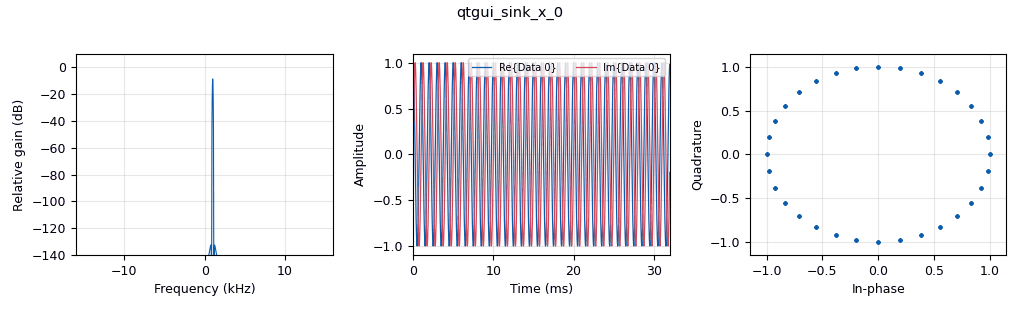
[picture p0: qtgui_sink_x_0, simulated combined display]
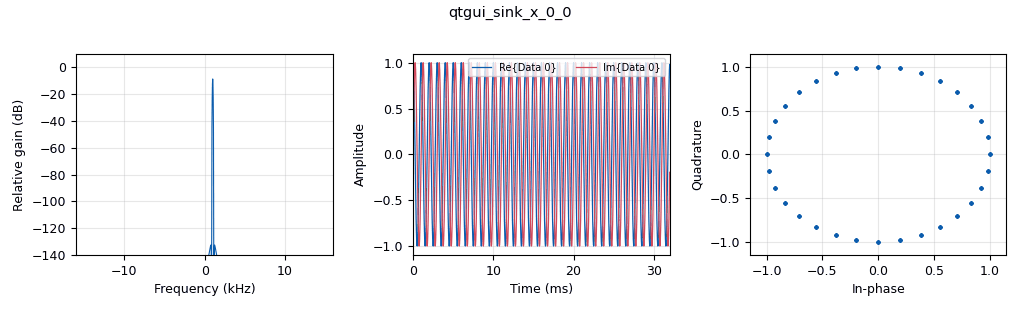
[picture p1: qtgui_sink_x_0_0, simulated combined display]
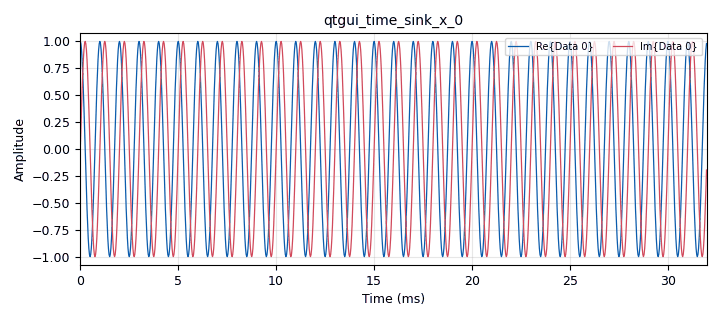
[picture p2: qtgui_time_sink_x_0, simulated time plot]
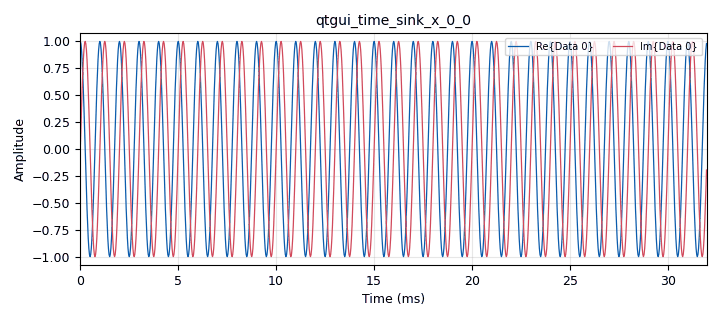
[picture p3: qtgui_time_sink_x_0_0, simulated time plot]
options:
  parameters:
    generate_options: qt_gui
    id: lesson2
    output_language: python
    title: lesson2
  states: {}

blocks:
- name: freq
  id: variable_qtgui_range
  parameters:
    orient: Qt.Horizontal
    start: '1000'
    step: '1000'
    stop: '18000'
    value: '1000'
  states: {}
- name: samp_rate
  id: variable
  parameters:
    value: '32000'
  states: {}
- name: analog_sig_source_x_0
  id: analog_sig_source_x
  parameters:
    amp: '1'
    freq: freq
    offset: '0'
    phase: '0'
    samp_rate: samp_rate
    type: complex
    waveform: analog.GR_COS_WAVE
  states: {}
- name: blocks_throttle_0
  id: blocks_throttle
  parameters:
    samples_per_second: 32e3
    type: complex
  states: {}
- name: qtgui_sink_x_0
  id: qtgui_sink_x
  parameters:
    bw: samp_rate
    fc: '0'
    fftsize: '1024'
    type: complex
    wintype: firdes.WIN_BLACKMAN_hARRIS
  states: {}
- name: qtgui_sink_x_0_0
  id: qtgui_sink_x
  parameters:
    bw: samp_rate
    fc: '0'
    fftsize: '1024'
    type: complex
    wintype: firdes.WIN_BLACKMAN_hARRIS
  states: {}
- name: qtgui_time_sink_x_0
  id: qtgui_time_sink_x
  parameters:
    size: '1024'
    srate: samp_rate
    type: complex
  states: {}
- name: qtgui_time_sink_x_0_0
  id: qtgui_time_sink_x
  parameters:
    size: '1024'
    srate: samp_rate
    type: complex
  states: {}

connections:
- [analog_sig_source_x_0, '0', blocks_throttle_0, '0']
- [analog_sig_source_x_0, '0', qtgui_sink_x_0, '0']
- [analog_sig_source_x_0, '0', qtgui_time_sink_x_0, '0']
- [blocks_throttle_0, '0', qtgui_sink_x_0_0, '0']
- [blocks_throttle_0, '0', qtgui_time_sink_x_0_0, '0']

metadata:
  file_format: 1
